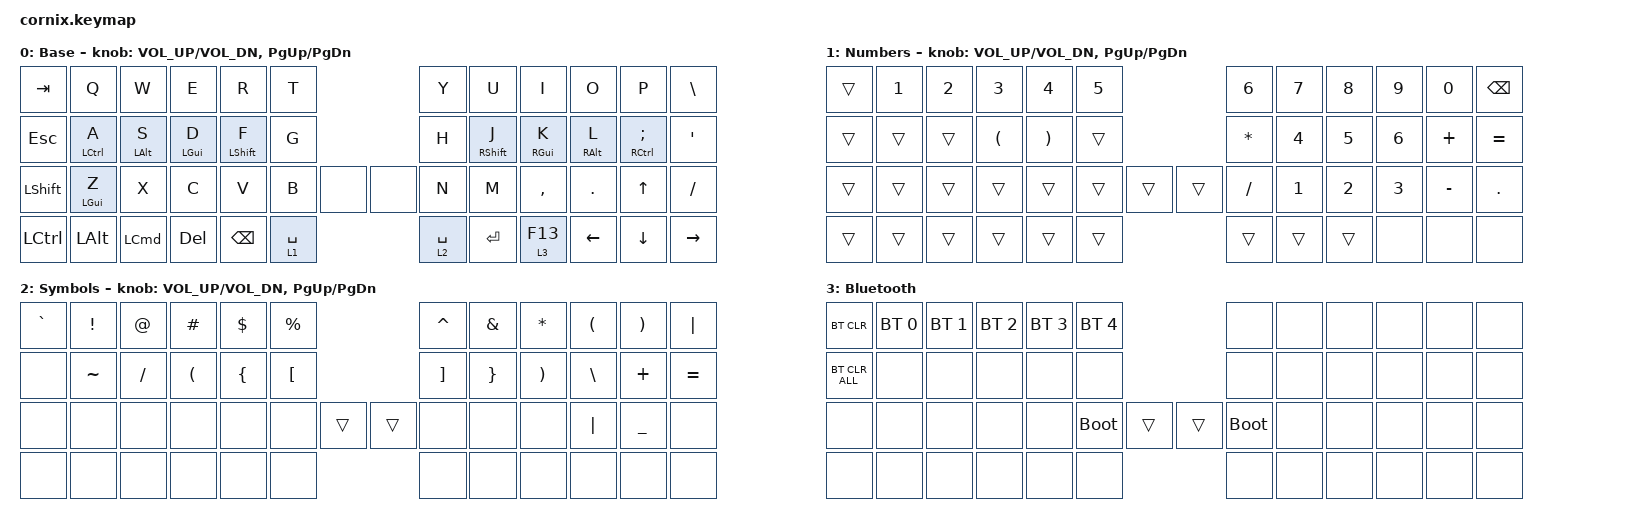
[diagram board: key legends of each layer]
/*
 * Copyright (c) 2020 The ZMK Contributors
 *
 * SPDX-License-Identifier: MIT
 */

#include "zmk-helpers/helper.h"
#include "includes/cornix54.h"

// tap windows for ctl alt and gui

#define HM_TAPPING_TERM 250
#define HM_TAPPING_REPEAT 210

// quick tapping for shift

#define HM_TAPPING_TERM_FAST 200
#define HM_PRIOR_IDLE 70
#define BASE 0
#define WIN 1
#define LOWER 2
#define RAISE 3
#define ADJUST 4
#define NAVI   5
#define NUM    6
#define DEBUG  7

// https://github.com/urob/zmk-config/tree/main#timeless-homerow-mods

#define KEYS_L LT0 LT1 LT2 LT3 LT4 LT5 LM0 LM1 LM2 LM3 LM4 LM5 LB0 LB1 LB2 LB3 LB4 LB5  // left hand
#define KEYS_R RT0 RT1 RT2 RT3 RT4 RT5 RM0 RM1 RM2 RM3 RM4 RM5 RB0 RB1 RB2 RB3 RB4 RB5  // right hand
#define THUMBS LH1 LH0 RH0 RH1
#define KEYS_T LH1 LH0 RH0 RH1
#define ZMK_POINTING_DEFAULT_SCRL_VAL 15

#include <behaviors.dtsi>
#include <dt-bindings/zmk/bt.h>
#include <dt-bindings/zmk/keys.h>

/ {
    // Activate ADJUST layer by pressing raise and lower

    behaviors {
        hm_l: homerow_mods_left {
            compatible = "zmk,behavior-hold-tap";
            #binding-cells = <2>;
            bindings = <&kp>, <&kp>;

            flavor = "tap-preferred";
            tapping-term-ms = <HM_TAPPING_TERM>;
            quick-tap-ms = <200>;                // repeat on tap-into-hold
            require-prior-idle-ms = <HM_PRIOR_IDLE>;
            hold-trigger-key-positions = <KEYS_R KEYS_T>;
            hold-trigger-on-release;
        };

        hm_r: homerow_mods_right {
            compatible = "zmk,behavior-hold-tap";
            #binding-cells = <2>;
            bindings = <&kp>, <&kp>;

            flavor = "tap-preferred";
            tapping-term-ms = <HM_TAPPING_TERM>;
            quick-tap-ms = <200>;
            require-prior-idle-ms = <HM_PRIOR_IDLE>;
            hold-trigger-key-positions = <KEYS_L KEYS_T>;
            hold-trigger-on-release;
        };

        // Positional Homerow mods for shift
        // Use faster tapping term and disable some features that may
        // cause false negatives.

        hm_shift_l: hm_shift_l {
            compatible = "zmk,behavior-hold-tap";
            #binding-cells = <2>;
            bindings = <&kp>, <&kp>;
            flavor = "tap-preferred";
            tapping-term-ms = <HM_TAPPING_TERM_FAST>;
            quick-tap-ms = <200>;
            require-prior-idle-ms = <HM_PRIOR_IDLE>;
            hold-trigger-key-positions = <KEYS_R KEYS_T>;
            hold-trigger-on-release;
        };

        hm_shift_r: hm_shift_r {
            compatible = "zmk,behavior-hold-tap";
            #binding-cells = <2>;
            bindings = <&kp>, <&kp>;

            flavor = "balanced";
            tapping-term-ms = <HM_TAPPING_TERM_FAST>;
            quick-tap-ms = <200>;
            require-prior-idle-ms = <HM_PRIOR_IDLE>;
            hold-trigger-key-positions = <KEYS_L KEYS_T>;

            // for quick tapping; shift+~

            hold-trigger-on-release;
        };

        /*
         * Non-Positional Homerow Mods
         * Used for &mm_grescm_gui behavior on left hand.
         *
         * Usage: &hm LSHFT T
         * Tap: T
         * Tap-Tap-Hold: Repeat T
         * Hold: LSHIFT
         */

        hm: homerow_mods {
            compatible = "zmk,behavior-hold-tap";
            #binding-cells = <2>;
            bindings = <&kp>, <&kp>;

            flavor = "tap-preferred";
            tapping-term-ms = <HM_TAPPING_TERM>;
            quick-tap-ms = <200>;
        };

        lt: layer_tap {
            compatible = "zmk,behavior-hold-tap";
            #binding-cells = <2>;
            bindings = <&mo>, <&kp>;

            flavor = "hold-preferred";
            tapping-term-ms = <HM_TAPPING_TERM>;
            quick-tap-ms = <200>;
        };
    };

    conditional_layers { compatible = "zmk,conditional-layers"; };

    combos { compatible = "zmk,combos"; };

    keymap {
        compatible = "zmk,keymap";

        default_layer {
            display-name = "Base";
            bindings = <
&kp TAB           &kp Q          &kp W             &kp E         &kp R                &kp T                      &kp Y        &kp U                &kp I         &kp O         &kp P             &kp BSLH
&kp ESC           &hm_l LCTRL A  &hm_l LALT S      &hm_l LGUI D  &hm_shift_l LSHFT F  &kp G                      &kp H        &hm_shift_r RSHFT J  &hm_r RGUI K  &hm_r RALT L  &hm_r RCTRL SEMI  &kp SQT
&kp LSHIFT        &hm_l LGUI Z   &kp X             &kp C         &kp V                &kp B        &none  &none  &kp N        &kp M                &kp COMMA     &kp DOT       &kp UP_ARROW      &kp SLASH
&kp LEFT_CONTROL  &kp LEFT_ALT   &kp LEFT_COMMAND  &kp DEL       &kp BACKSPACE        &lt 1 SPACE                &lt 2 SPACE  &kp ENTER            &lt 3 F13     &kp LEFT      &kp DOWN_ARROW    &kp RIGHT
            >;

            sensor-bindings = <&inc_dec_kp C_VOL_UP C_VOL_DN &inc_dec_kp PG_UP PG_DN>;
        };

        Number_layer {
            display-name = "Numbers";
            bindings = <
&trans  &kp NUMBER_1  &kp NUMBER_2  &kp NUMBER_3          &kp NUMBER_4           &kp NUMBER_5                  &kp NUMBER_6  &kp NUMBER_7  &kp NUMBER_8  &kp N9        &kp N0     &kp BACKSPACE
&trans  &trans        &trans        &kp LEFT_PARENTHESIS  &kp RIGHT_PARENTHESIS  &trans                        &kp ASTERISK  &kp NUMBER_4  &kp N5        &kp NUMBER_6  &kp PLUS   &kp EQUAL
&trans  &trans        &trans        &trans                &trans                 &trans        &trans  &trans  &kp SLASH     &kp NUMBER_1  &kp NUMBER_2  &kp NUMBER_3  &kp MINUS  &kp PERIOD
&trans  &trans        &trans        &trans                &trans                 &trans                        &trans        &trans        &trans        &none         &none      &none
            >;

            sensor-bindings = <&inc_dec_kp C_VOL_UP C_VOL_DN &inc_dec_kp PG_UP PG_DN>;
        };

        Symbol_layer {
            display-name = "Symbols";       |     |      |      |      |        |  |       |      |       |       |      |
            bindings = <
&kp GRAVE  &kp EXCL   &kp AT     &kp HASH              &kp DLLR  &kp PRCNT                         &kp CARET          &kp AMPS         &kp ASTRK              &kp LPAR       &kp RPAR        &kp PIPE
&none      &kp TILDE  &kp SLASH  &kp LEFT_PARENTHESIS  &kp LBRC  &kp LEFT_BRACKET                  &kp RIGHT_BRACKET  &kp RIGHT_BRACE  &kp RIGHT_PARENTHESIS  &kp BACKSLASH  &kp PLUS        &kp EQUAL
&none      &none      &none      &none                 &none     &none             &trans  &trans  &none              &none            &none                  &kp PIPE       &kp UNDERSCORE  &none
&none      &none      &none      &none                 &none     &none                             &none              &none            &none                  &none          &none           &none
            >;

            sensor-bindings = <&inc_dec_kp C_VOL_UP C_VOL_DN &inc_dec_kp PG_UP PG_DN>;
        };

        Debug_layer {
            display-name = "Bluetooth";
            bindings = <
&bt BT_CLR      &bt BT_SEL 0  &bt BT_SEL 1  &bt BT_SEL 2  &bt BT_SEL 3  &bt BT_SEL 4                  &none        &none  &none  &none  &none  &none
&bt BT_CLR_ALL  &none         &none         &none         &none         &none                         &none        &none  &none  &none  &none  &none
&none           &none         &none         &none         &none         &bootloader   &trans  &trans  &bootloader  &none  &none  &none  &none  &none
&none           &none         &none         &none         &none         &none                         &none        &none  &none  &none  &none  &none
            >;
        };
    };
};
